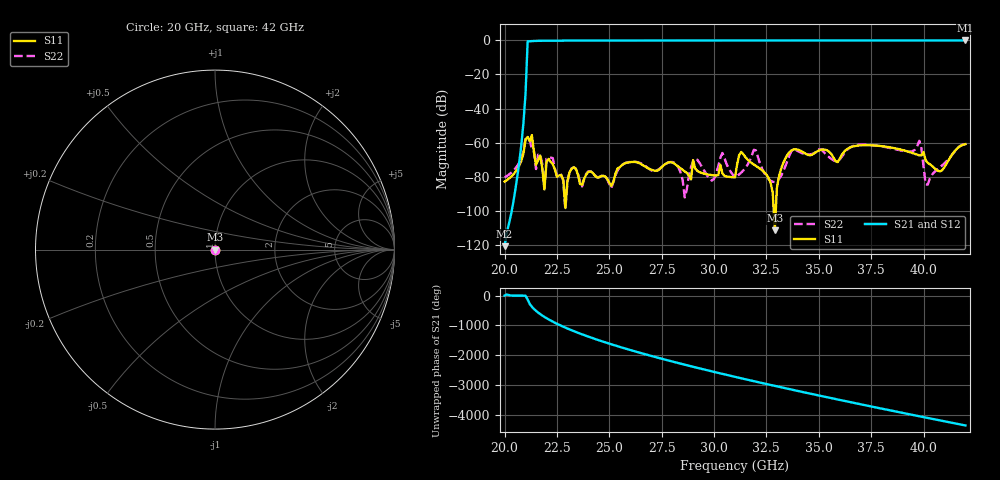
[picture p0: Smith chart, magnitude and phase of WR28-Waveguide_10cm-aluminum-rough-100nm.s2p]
! Touchstone file exported from HFSS 2019.2.0
!  File:  C:/Users/jgarrett/Documents/Ansoft/Waveguide/WR28-Waveguide.aedt
!  Generated:  12:10:29 PM  Mar 17, 2021
!  Design:  10cm-aluminum-rough-100nm
!  Project:  WR28-Waveguide
!  Setup:  Setup1
!  Solution:  Sweep
! Variables:
!  waveguideA = 280mil
!  waveguideB = 140mil
!  waveguideL = 10cm
!Data is not renormalized
# GHZ S MA
! Modal data exported
! Port[1] = 1:1
! Port[2] = 2:1
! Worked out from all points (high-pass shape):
!   221 points, 20 GHz to 42 GHz, reference per port
!   highest |S21| = -0.07 dB at 42 GHz (marker M1); lowest = -120.6 dB at 20 GHz (marker M2)
!   |S21| within 3 dB of the highest: 21.09 GHz to end of sweep
!   lowest |S11| = -111.3 dB at 32.9 GHz (marker M3), VSWR 1.00
!   |S11| at or under -10 dB: start of sweep to end of sweep
!   |S22| runs from -99.0 to -57.3 dB; largest |S21 - S12| = 5.7e-13
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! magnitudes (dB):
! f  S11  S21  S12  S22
! 20 GHz  -82.8  -120.6  -120.6  -80.3
! 20.6 GHz  -75.6  -80.3  -80.3  -73.6
! 20.9 GHz  -66.3  -48.4  -48.4  -65.0
! 21.1 GHz  -56.6  -0.5  -0.5  -57.3
! 21.9 GHz  -87.4  -0.2  -0.2  -85.8
! 22.2 GHz  -71.2  -0.2  -0.2  -68.7
! 23.7 GHz  -84.6  -0.1  -0.1  -85.6
! 27.4 GHz  -75.5  -0.1  -0.1  -75.2
! 28.7 GHz  -77.7  -0.1  -0.1  -87.4
! 29.1 GHz  -75.1  -0.1  -0.1  -69.4
! 30 GHz  -79.1  -0.1  -0.1  -81.0
! 30.4 GHz  -78.0  -0.1  -0.1  -66.0
! 31 GHz  -80.3  -0.1  -0.1  -80.3
! 31.3 GHz  -65.4  -0.1  -0.1  -77.5
! 31.9 GHz  -72.8  -0.1  -0.1  -64.1
! 32.9 GHz  -111.3  -0.1  -0.1  -83.0
! 33.7 GHz  -64.5  -0.1  -0.1  -64.8
! 34.7 GHz  -66.9  -0.1  -0.1  -66.5
! 38.4 GHz  -62.7  -0.1  -0.1  -63.1
! 39.8 GHz  -67.4  -0.1  -0.1  -58.8
! 40.3 GHz  -72.5  -0.1  -0.1  -81.0
! 42 GHz  -60.8  -0.1  -0.1  -60.8
